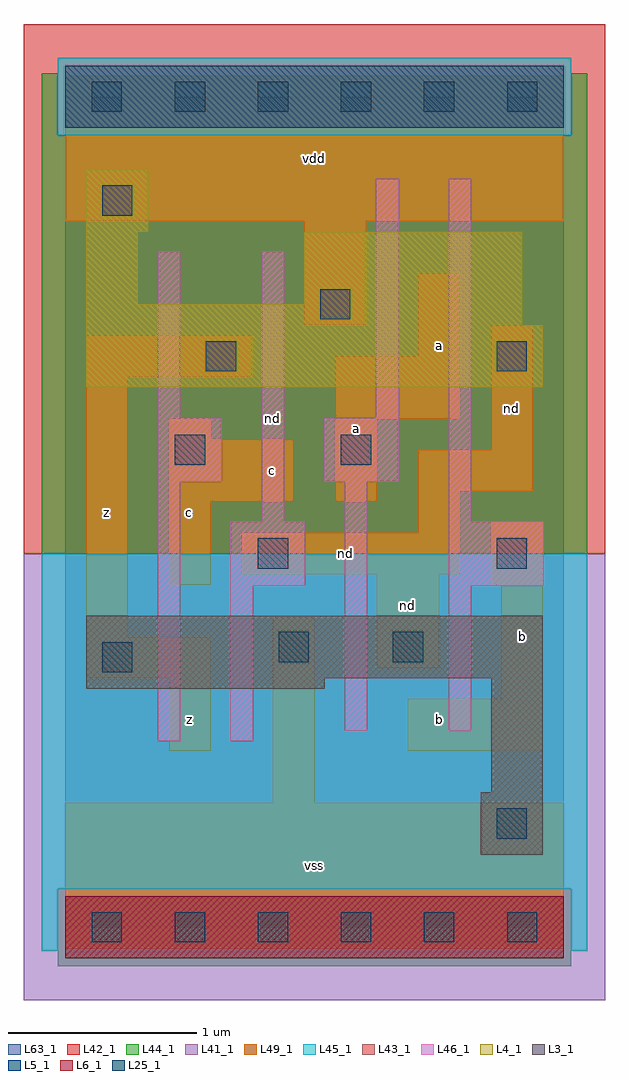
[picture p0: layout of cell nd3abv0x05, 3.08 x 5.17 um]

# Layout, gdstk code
import gdstk
lib = gdstk.Library(unit=1e-6, precision=1e-09)
def R(c, l, rs):  # rectangles x0, y0, x1, y1
    for r in rs: c.add(gdstk.rectangle(r[:2], r[2:], *l))
def A(c, l, x, y, w, h, nx, ny, dx, dy):  # array of equal rectangles
    R(c, l, [(x+i*dx, y+j*dy, x+i*dx+w, y+j*dy+h) for i in range(nx) for j in range(ny)])
L3_1 = (3, 1)
L4_1 = (4, 1)
L5_1 = (5, 1)
L6_1 = (6, 1)
L25_1 = (25, 1)
L41_1 = (41, 1)
L42_1 = (42, 1)
L43_1 = (43, 1)
L44_1 = (44, 1)
L45_1 = (45, 1)
L46_1 = (46, 1)
L49_1 = (49, 1)
L63_1 = (63, 1)

nd3abv0x05 = lib.new_cell('nd3abv0x05')
R(nd3abv0x05, L3_1, [(2.2,0.385,2.53,0.715), (2.255,0.715,2.53,1.32), (0.11,1.265,1.375,1.32), (0.11,1.32,2.53,1.65)])
R(nd3abv0x05, L4_1, [(0.11,2.86,2.53,3.19), (0.11,3.19,2.42,3.3), (0.11,3.3,0.385,3.685), (1.265,3.3,2.42,3.685), (0.11,3.685,0.44,4.015)])
R(nd3abv0x05, L5_1, [(0,4.235,2.64,4.565)])
R(nd3abv0x05, L6_1, [(0,-0.165,2.64,0.165)])
A(nd3abv0x05, L25_1, 0.14, -0.08, 0.16, 0.16, 6, 2, 0.44, 4.4)
R(nd3abv0x05, L25_1, [(2.285,0.47,2.445,0.63), (0.195,1.35,0.355,1.51), (1.13,1.405,1.29,1.565), (1.735,1.405,1.895,1.565), (1.02,1.9,1.18,2.06), (2.285,1.9,2.445,2.06), (0.58,2.45,0.74,2.61), (1.46,2.45,1.62,2.61), (0.745,2.945,0.905,3.105), (2.285,2.945,2.445,3.105), (1.35,3.22,1.51,3.38), (0.195,3.77,0.355,3.93)])
R(nd3abv0x05, L41_1, [(-0.22,-0.385,2.86,1.98)])
R(nd3abv0x05, L42_1, [(-0.22,1.98,2.86,4.785)])
R(nd3abv0x05, L43_1, [(0,-0.165,2.64,0.165), (2.2,0.385,2.53,0.715), (2.255,0.715,2.53,1.32), (0.11,1.265,1.375,1.32), (0.11,1.32,2.53,1.65), (0.11,2.86,2.53,3.19), (0.11,3.19,2.42,3.3), (0.11,3.3,0.385,3.685), (1.265,3.3,2.42,3.685), (0.11,3.685,0.44,4.015), (0,4.235,2.64,4.565)])
R(nd3abv0x05, L44_1, [(-0.04,-0.205,2.68,0.205), (-0.125,1.98,2.765,4.195), (-0.125,4.195,-0.04,4.525), (2.68,4.195,2.765,4.525)])
R(nd3abv0x05, L45_1, [(-0.125,-0.125,-0.04,0.205), (2.68,-0.125,2.765,0.205), (-0.125,0.205,2.765,1.98), (-0.04,4.195,2.68,4.605)])
R(nd3abv0x05, L46_1, [(0.49,0.985,0.61,2.36), (0.875,0.985,0.995,1.81), (1.48,1.04,1.6,2.36), (2.03,1.04,2.15,1.81), (0.875,1.81,1.27,2.15), (2.03,1.81,2.535,2.15), (1.04,2.15,1.16,3.58), (2.03,2.15,2.15,3.965), (0.49,2.36,0.83,2.7), (1.37,2.36,1.765,2.7), (0.49,2.7,0.61,3.58), (1.645,2.7,1.765,3.965)])
R(nd3abv0x05, L49_1, [(0,-0.11,2.64,0.66), (1.1,0.66,1.32,1.65), (0.55,0.935,0.77,1.32), (1.815,0.935,2.53,1.21), (2.31,1.21,2.53,1.815), (0.11,1.32,0.77,1.54), (1.65,1.375,1.98,1.87), (0.11,1.54,0.33,2.915), (0.55,1.815,0.77,2.255), (2.255,1.815,2.53,2.145), (0.935,1.87,2.09,2.09), (1.87,2.09,2.09,2.31), (0.55,2.255,1.21,2.585), (1.43,2.255,1.65,2.695), (1.87,2.31,2.475,2.53), (2.255,2.53,2.475,3.19), (0.55,2.585,0.77,2.695), (1.43,2.695,2.09,3.025), (0.11,2.915,0.99,3.135), (1.87,3.025,2.09,3.465), (1.265,3.19,1.595,3.74), (0,3.74,2.64,4.51)])
R(nd3abv0x05, L63_1, [(0,0,2.64,4.4)])
nd3abv0x05.add(gdstk.Label('nd', (1.1,2.695), layer=46, texttype=1))
nd3abv0x05.add(gdstk.Label('z', (0.22,2.2), layer=49, texttype=1))
nd3abv0x05.add(gdstk.Label('z', (0.66,1.1), layer=49, texttype=1))
nd3abv0x05.add(gdstk.Label('c', (1.1,2.42), layer=49, texttype=1))
nd3abv0x05.add(gdstk.Label('c', (0.66,2.2), layer=49, texttype=1))
nd3abv0x05.add(gdstk.Label('vss', (1.32,0.33), layer=49, texttype=1))
nd3abv0x05.add(gdstk.Label('nd', (1.815,1.705), layer=49, texttype=1))
nd3abv0x05.add(gdstk.Label('a', (1.54,2.64), layer=49, texttype=1))
nd3abv0x05.add(gdstk.Label('vdd', (1.32,4.07), layer=49, texttype=1))
nd3abv0x05.add(gdstk.Label('b', (1.98,1.1), layer=49, texttype=1))
nd3abv0x05.add(gdstk.Label('nd', (1.485,1.98), layer=49, texttype=1))
nd3abv0x05.add(gdstk.Label('b', (2.42,1.54), layer=49, texttype=1))
nd3abv0x05.add(gdstk.Label('nd', (2.365,2.75), layer=49, texttype=1))
nd3abv0x05.add(gdstk.Label('a', (1.98,3.08), layer=49, texttype=1))

lib.write_gds('nd3abv0x05.gds')
